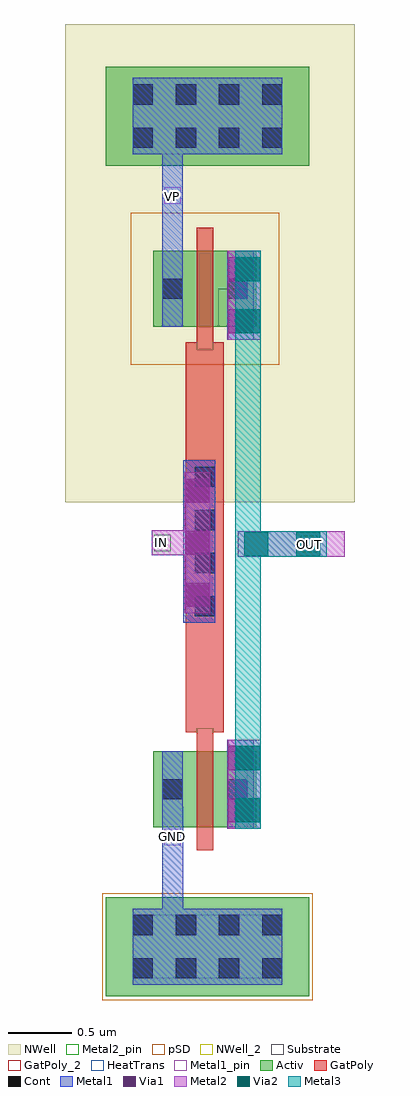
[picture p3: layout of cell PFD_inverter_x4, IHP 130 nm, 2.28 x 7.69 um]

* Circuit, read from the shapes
.subckt PFD_inverter_x4 GND IN OUT VP
XM1 OUT IN GND GND sg13_lv_nmos w=0.6u l=0.13u
XM2 OUT IN VP VP sg13_lv_pmos w=0.6u l=0.13u
.ends

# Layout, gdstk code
import gdstk
lib = gdstk.Library(unit=1e-6, precision=1e-09)
def R(c, l, rs):  # rectangles x0, y0, x1, y1
    for r in rs: c.add(gdstk.rectangle(r[:2], r[2:], *l))
def A(c, l, x, y, w, h, nx, ny, dx, dy):  # array of equal rectangles
    R(c, l, [(x+i*dx, y+j*dy, x+i*dx+w, y+j*dy+h) for i in range(nx) for j in range(ny)])
Activ = (1, 0)
GatPoly = (5, 0)
GatPoly_2 = (5, 2)
Cont = (6, 0)
Metal1 = (8, 0)
Metal1_pin = (8, 2)
Metal2 = (10, 0)
Metal2_pin = (10, 2)
pSD = (14, 0)
Via1 = (19, 0)
Via2 = (29, 0)
Metal3 = (30, 0)
NWell = (31, 0)
NWell_2 = (31, 2)
Substrate = (40, 0)
HeatTrans = (51, 0)

via_2_1 = lib.new_cell('Via$2$1')
R(via_2_1, Metal2, [(-0.1,-0.35,0.1,0.35)])
R(via_2_1, Via2, [(-0.095,-0.3,0.095,-0.11), (-0.095,0.11,0.095,0.3)])
R(via_2_1, Metal3, [(-0.1,-0.35,0.1,0.35)])

via_8 = lib.new_cell('Via$8')
R(via_8, Metal1, [(-0.105,-0.35,0.105,0.35)])
R(via_8, Metal2, [(-0.1,-0.35,0.1,0.35)])
R(via_8, Via1, [(-0.095,-0.3,0.095,-0.11), (-0.095,0.11,0.095,0.3)])

via_6 = lib.new_cell('Via$6')
R(via_6, Metal1, [(-0.105,-0.555,0.105,0.555)])
R(via_6, Metal2, [(-0.1,-0.555,0.1,0.555)])
A(via_6, Via1, -0.095, -0.505, 0.19, 0.19, 1, 3, 0, 0.41)

via_7 = lib.new_cell('Via$7')
R(via_7, Metal2, [(-0.35,-0.1,0.35,0.1)])
R(via_7, Via2, [(-0.3,-0.095,-0.11,0.095), (0.11,-0.095,0.3,0.095)])
R(via_7, Metal3, [(-0.35,-0.1,0.35,0.1)])

ntap1_3 = lib.new_cell('ntap1$3')
R(ntap1_3, Activ, [(0,0,1.6,0.78)])
A(ntap1_3, Cont, 0.21, 0.14, 0.16, 0.16, 4, 2, 0.34, 0.34)
R(ntap1_3, Metal1, [(0.21,0.09,1.39,0.69)])
R(ntap1_3, Metal1_pin, [(0.21,0.09,1.39,0.69), (0.21,0.14,1.39,0.64)])
R(ntap1_3, NWell, [(-0.24,-0.24,1.84,1.02), (0,0,1.6,0.78)])
R(ntap1_3, NWell_2, [(0,0,1.6,0.78)])
ntap1_3.add(gdstk.Label('well', (0.8,0.01), layer=63, texttype=0))
ntap1_3.add(gdstk.Label('well', (0.8,0.01), layer=31, texttype=0))

ptap1_5 = lib.new_cell('ptap1$5')
R(ptap1_5, Activ, [(0,0,1.6,0.78)])
A(ptap1_5, Cont, 0.21, 0.14, 0.16, 0.16, 4, 2, 0.34, 0.34)
R(ptap1_5, Metal1, [(0.21,0.09,1.39,0.69), (0.21,0.14,1.39,0.64)])
R(ptap1_5, Metal1_pin, [(0.21,0.14,1.39,0.64)])
R(ptap1_5, pSD, [(-0.03,-0.03,1.63,0.81)])
R(ptap1_5, Substrate, [(0,0,1.6,0.78)])
ptap1_5.add(gdstk.Label('sub!', (0.8,0.01), layer=63, texttype=0))
ptap1_5.add(gdstk.Label('sub!', (0.8,0.01), layer=40, texttype=0))

nmos_4 = lib.new_cell('nmos$4')
R(nmos_4, Activ, [(0,0,0.3,0.3), (0,0,0.81,0.6), (0.51,0,0.81,0.3)])
R(nmos_4, GatPoly, [(0.34,-0.18,0.47,0.78)])
R(nmos_4, GatPoly_2, [(0.34,-0.18,0.47,0.78)])
R(nmos_4, Cont, [(0.07,0.22,0.23,0.38), (0.58,0.22,0.74,0.38)])
R(nmos_4, Metal1, [(0.07,0,0.23,0.6), (0.58,0,0.74,0.6)])
R(nmos_4, Metal1_pin, [(0.07,0,0.23,0.6), (0.58,0,0.74,0.6)])
R(nmos_4, HeatTrans, [(0.34,-0.18,0.47,0.78)])
nmos_4.add(gdstk.Label('nmos', (0.405,0.3), layer=63, texttype=0))
nmos_4.add(gdstk.Label('nmos', (0.405,0.3), layer=51, texttype=0))

pmos_4 = lib.new_cell('pmos$4')
R(pmos_4, Activ, [(0,0,0.3,0.3), (0,0,0.81,0.6), (0.51,0,0.81,0.3)])
R(pmos_4, GatPoly, [(0.34,-0.18,0.47,0.78), (0.34,-0.18,0.47,0.78)])
R(pmos_4, Cont, [(0.07,0.22,0.23,0.38), (0.58,0.22,0.74,0.38)])
R(pmos_4, Metal1, [(0.07,0,0.23,0.6), (0.07,0,0.23,0.6), (0.58,0,0.74,0.6), (0.58,0,0.74,0.6)])
R(pmos_4, pSD, [(-0.18,-0.3,0.99,0.9)])
R(pmos_4, NWell, [(-0.31,-0.31,1.12,0.91)])
R(pmos_4, Substrate, [(0.51,0,0.81,0.3)])
R(pmos_4, HeatTrans, [(0.34,-0.18,0.47,0.78)])
pmos_4.add(gdstk.Label('pmos', (0.405,0.3), layer=63, texttype=0))
pmos_4.add(gdstk.Label('pmos', (0.405,0.3), layer=51, texttype=0))

via_5 = lib.new_cell('Via$5')
R(via_5, GatPoly, [(-0.15,-0.66,0.15,0.66)])
A(via_5, Cont, -0.08, -0.59, 0.16, 0.16, 1, 4, 0, 0.34)
R(via_5, Metal1, [(-0.08,-0.64,0.08,0.64)])

pfd_inverter_x4 = lib.new_cell('PFD_inverter_x4')
R(pfd_inverter_x4, GatPoly, [(-0.265,-2.855,-0.135,-2.655), (-0.35,-2.65,-0.05,-1.81), (-0.35,-0.49,-0.05,0.42)])
R(pfd_inverter_x4, Metal1, [(-0.535,-4.45,-0.37,-3.805), (-0.535,-3.805,-0.37,-3.24), (-0.37,-1.79,-0.35,-0.51), (-0.35,-1.79,-0.28,-0.51), (-0.535,0.96,-0.375,1.26), (-0.535,1.245,-0.375,2.235)])
R(pfd_inverter_x4, Metal1_pin, [(-0.52,-3.54,-0.39,-3.41), (-0.52,1.51,-0.39,1.64)])
R(pfd_inverter_x4, Metal2, [(-0.02,-3.41,0.24,-2.71), (0.53,-1.27,0.9,-1.07), (-0.62,-1.26,-0.28,-1.06), (-0.02,0.44,0.24,1.14)])
R(pfd_inverter_x4, Metal2_pin, [(0.555,-1.235,0.685,-1.105), (-0.6,-1.225,-0.47,-1.095)])
R(pfd_inverter_x4, Metal3, [(0.04,-3.09,0.24,-2.63), (0.04,-2.7,0.24,-0.24), (0.04,-0.34,0.24,0.76)])
R(pfd_inverter_x4, NWell, [(-1.3,-0.84,0.98,0.14), (-1.3,0.14,0.98,0.655), (-1.3,0.655,0.755,2.925), (0.755,0.655,0.98,2.925)])
pfd_inverter_x4.add(gdstk.Reference(via_2_1, (0.14,-3.06)))
pfd_inverter_x4.add(gdstk.Reference(via_8, (0.08,-3.06)))
pfd_inverter_x4.add(gdstk.Reference(via_6, (-0.26,-1.16)))
pfd_inverter_x4.add(gdstk.Reference(via_7, (0.41,-1.17)))
pfd_inverter_x4.add(gdstk.Reference(via_2_1, (0.14,0.79)))
pfd_inverter_x4.add(gdstk.Reference(via_8, (0.08,0.79)))
pfd_inverter_x4.add(gdstk.Reference(ntap1_3, (-0.98,1.81)))
pfd_inverter_x4.add(gdstk.Reference(ptap1_5, (-0.98,-4.73)))
pfd_inverter_x4.add(gdstk.Reference(nmos_4, (-0.605,-3.4)))
pfd_inverter_x4.add(gdstk.Reference(pmos_4, (-0.605,0.54)))
pfd_inverter_x4.add(gdstk.Reference(via_5, (-0.2,-1.15)))
pfd_inverter_x4.add(gdstk.Label('OUT', (0.62,-1.17), layer=10, texttype=25))
pfd_inverter_x4.add(gdstk.Label('IN', (-0.54,-1.16), layer=10, texttype=25))
pfd_inverter_x4.add(gdstk.Label('GND', (-0.455,-3.47), layer=8, texttype=25))
pfd_inverter_x4.add(gdstk.Label('VP', (-0.455,1.57), layer=8, texttype=25))

lib.write_gds('PFD_inverter_x4.gds')
